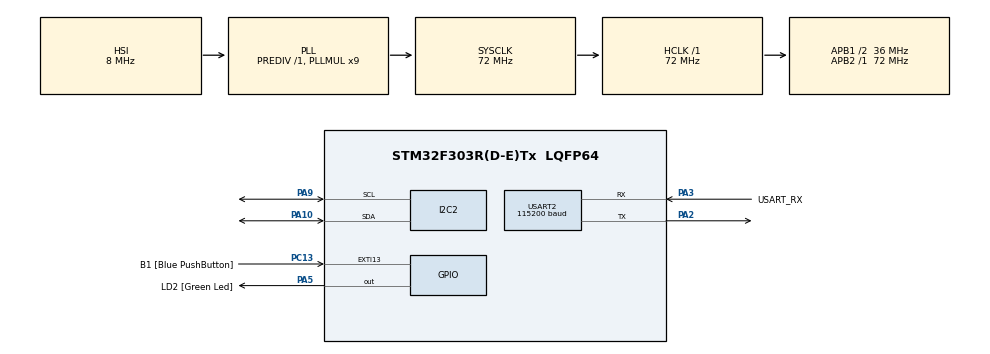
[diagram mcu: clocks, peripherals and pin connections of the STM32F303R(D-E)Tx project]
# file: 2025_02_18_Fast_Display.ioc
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I2C2.Timing=0x00201D2B
Mcu.Family=STM32F3
Mcu.Name=STM32F303R(D-E)Tx
Mcu.Package=LQFP64
NVIC.PriorityGroup=NVIC_PRIORITYGROUP_0
PA10.Mode=I2C
PA10.Signal=I2C2_SDA
PA13.GPIO_Label=TMS
PA13.Mode=Serial_Wire
PA13.Signal=SYS_JTMS-SWDIO
PA14.GPIO_Label=TCK
PA14.Mode=Serial_Wire
PA14.Signal=SYS_JTCK-SWCLK
PA2.Mode=Asynchronous
PA2.Signal=USART2_TX
PA3.GPIO_Label=USART_RX
PA3.GPIO_Mode=GPIO_MODE_AF_PP
PA3.GPIO_PuPd=GPIO_NOPULL
PA3.GPIO_Speed=GPIO_SPEED_FREQ_LOW
PA3.Mode=Asynchronous
PA3.Signal=USART2_RX
PA5.GPIO_Label=LD2 [Green Led]
PA5.GPIO_Mode=GPIO_MODE_OUTPUT_PP
PA5.GPIO_PuPd=GPIO_NOPULL
PA5.GPIO_Speed=GPIO_SPEED_FREQ_LOW
PA5.Signal=GPIO_Output
PA9.Mode=I2C
PA9.Signal=I2C2_SCL
PB3.Signal=SYS_JTDO-TRACESWO
PC13.GPIO_Label=B1 [Blue PushButton]
PC13.GPIO_ModeDefaultEXTI=GPIO_MODE_IT_FALLING
PC13.Signal=GPXTI13
PC14-OSC32_IN.Mode=LSE-External-Clock-Source
PC14-OSC32_IN.Signal=RCC_OSC32_IN
PC15-OSC32_OUT.Signal=RCC_OSC32_OUT
PF0-OSC_IN.Mode=HSE-External-Clock-Source
PF0-OSC_IN.Signal=RCC_OSC_IN
PF1-OSC_OUT.Signal=RCC_OSC_OUT
ProjectManager.HeapSize=0x200
ProjectManager.StackSize=0x400
ProjectManager.TargetToolchain=STM32CubeIDE
RCC.AHBFreq_Value=72000000
RCC.APB1CLKDivider=RCC_HCLK_DIV2
RCC.APB1Freq_Value=36000000
RCC.APB1TimFreq_Value=72000000
RCC.APB2Freq_Value=72000000
RCC.APB2TimFreq_Value=72000000
RCC.CortexFreq_Value=72000000
RCC.HCLKFreq_Value=72000000
RCC.HSE_VALUE=8000000
RCC.HSI_VALUE=8000000
RCC.PLLM=8
RCC.PLLMUL=RCC_PLL_MUL9
RCC.PLLN=336
RCC.PLLP=RCC_PLLP_DIV4
RCC.PLLQ=7
RCC.RCC_PLLsource_Clock_Source_FROM_HSE=RCC_HSE_PREDIV_DIV2
RCC.SYSCLKFreq_VALUE=72000000
RCC.SYSCLKSourceVirtual=RCC_SYSCLKSOURCE_PLLCLK
RCC.USBFreq_Value=72000000
USART2.BaudRate=115200
USART2.VirtualMode-Asynchronous=VM_ASYNC
board=NUCLEO-F303RE

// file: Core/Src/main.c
/* USER CODE BEGIN Header */
/**
  ******************************************************************************
  * @file           : main.c
  * @brief          : Main program body
  ******************************************************************************
  * @attention
  *
  * Copyright (c) 2025 STMicroelectronics.
  * All rights reserved.
  *
  * This software is licensed under terms that can be found in the LICENSE file
  * in the root directory of this software component.
  * If no LICENSE file comes with this software, it is provided AS-IS.
  *
  ******************************************************************************
  */
/* USER CODE END Header */
#include "main.h"

/* USER CODE BEGIN Includes */
#include <string.h>
#include <stdio.h>
/* USER CODE END Includes */

/* USER CODE BEGIN PD */
#define SLAVE_ADDRESS_LCD 0x4E // change this according to your setup 4F

// LCD command definitions:

// commands
#define LCD_CLEARDISPLAY	0x01
#define LCD_RETURNHOME		0x02
#define LCD_ENTRYMODESET	0x04
#define LCD_DISPLAYCONTROL	0x08
#define LCD_CURSORSHIFT		0x10

// flags for display entry mode
#define LCD_ENTRYRIGHT		0x00
#define LCD_ENTRYLEFT		0x02
#define LCD_ENTRYSHIFTINCREMENT 0x01
#define LCD_ENTRYSHIFTDECREMENT 0x00

// flags for display on/off control
#define LCD_DISPLAYON		0x04
#define LCD_DISPLAYOFF		0x00
#define LCD_CURSORON		0x02
#define LCD_CURSOROFF		0x00
#define LCD_BLINKON			0x01
#define LCD_BLINKOFF		0x00

// flags for display/cursor shift
#define LCD_DISPLAYMOVE		0x08
#define LCD_CURSORMOVE		0x00
#define LCD_MOVERIGHT		0x04
#define LCD_MOVELEFT		0x00

// flags for function set
#define LCD_8BITMODE		0x10
#define LCD_4BITMODE		0x00
#define LCD_2LINE			0x08
#define LCD_1LINE			0x00
#define LCD_5x10DOTS		0x04
#define LCD_5x8DOTS			0x00

#define NUMROWS				2
#define NUMCOLS				16
/* USER CODE END PD */

I2C_HandleTypeDef hi2c2;

UART_HandleTypeDef huart2;

void SystemClock_Config(void);
static void MX_GPIO_Init(void);
static void MX_USART2_UART_Init(void);
static void MX_I2C2_Init(void);
/* USER CODE BEGIN PFP */
void lcd_send_cmd (char cmd);
void lcd_send_data (char data);
void lcd_init (void);
void lcd_send_string (char *str);
void lcd_put_cur(int row, int col);
/* USER CODE END PFP */

int main(void)
{

  /* MCU Configuration--------------------------------------------------------*/

  /* Reset of all peripherals, Initializes the Flash interface and the Systick. */
  HAL_Init();

  /* Configure the system clock */
  SystemClock_Config();

  /* Initialize all configured peripherals */
  MX_GPIO_Init();
  MX_USART2_UART_Init();
  MX_I2C2_Init();
  /* USER CODE BEGIN 2 */
  lcd_init ();
  lcd_put_cur(0, 0);
  lcd_send_string ("HELLO WORLD");
  lcd_put_cur(1, 1);
  lcd_send_string("FAST GmbH");
  /* USER CODE END 2 */

  /* Infinite loop */
  while (1)
  {

    /* USER CODE BEGIN 3 */
	  lcd_put_cur(0, 0);
	  lcd_send_string ("HELLO WORLD");
	  HAL_Delay(1000);
	  lcd_send_cmd(LCD_CLEARDISPLAY);
	  lcd_put_cur(1, 1);
	  lcd_send_string("FAST GmbH");
	  HAL_Delay(1000);
	  lcd_send_cmd(LCD_CLEARDISPLAY);

  }
  /* USER CODE END 3 */
}

void SystemClock_Config(void)
{
  RCC_OscInitTypeDef RCC_OscInitStruct = {0};
  RCC_ClkInitTypeDef RCC_ClkInitStruct = {0};
  RCC_PeriphCLKInitTypeDef PeriphClkInit = {0};

  /** Initializes the RCC Oscillators according to the specified parameters
  * in the RCC_OscInitTypeDef structure.
  */
  RCC_OscInitStruct.OscillatorType = RCC_OSCILLATORTYPE_HSI;
  RCC_OscInitStruct.HSIState = RCC_HSI_ON;
  RCC_OscInitStruct.HSICalibrationValue = RCC_HSICALIBRATION_DEFAULT;
  RCC_OscInitStruct.PLL.PLLState = RCC_PLL_ON;
  RCC_OscInitStruct.PLL.PLLSource = RCC_PLLSOURCE_HSI;
  RCC_OscInitStruct.PLL.PLLMUL = RCC_PLL_MUL9;
  RCC_OscInitStruct.PLL.PREDIV = RCC_PREDIV_DIV1;
  if (HAL_RCC_OscConfig(&RCC_OscInitStruct) != HAL_OK)
  {
    Error_Handler();
  }

  /** Initializes the CPU, AHB and APB buses clocks
  */
  RCC_ClkInitStruct.ClockType = RCC_CLOCKTYPE_HCLK|RCC_CLOCKTYPE_SYSCLK
                              |RCC_CLOCKTYPE_PCLK1|RCC_CLOCKTYPE_PCLK2;
  RCC_ClkInitStruct.SYSCLKSource = RCC_SYSCLKSOURCE_PLLCLK;
  RCC_ClkInitStruct.AHBCLKDivider = RCC_SYSCLK_DIV1;
  RCC_ClkInitStruct.APB1CLKDivider = RCC_HCLK_DIV2;
  RCC_ClkInitStruct.APB2CLKDivider = RCC_HCLK_DIV1;

  if (HAL_RCC_ClockConfig(&RCC_ClkInitStruct, FLASH_LATENCY_2) != HAL_OK)
  {
    Error_Handler();
  }
  PeriphClkInit.PeriphClockSelection = RCC_PERIPHCLK_USART2|RCC_PERIPHCLK_I2C2;
  PeriphClkInit.Usart2ClockSelection = RCC_USART2CLKSOURCE_PCLK1;
  PeriphClkInit.I2c2ClockSelection = RCC_I2C2CLKSOURCE_HSI;
  if (HAL_RCCEx_PeriphCLKConfig(&PeriphClkInit) != HAL_OK)
  {
    Error_Handler();
  }
}

static void MX_I2C2_Init(void)
{

  hi2c2.Instance = I2C2;
  hi2c2.Init.Timing = 0x00201D2B;
  hi2c2.Init.OwnAddress1 = 0;
  hi2c2.Init.AddressingMode = I2C_ADDRESSINGMODE_7BIT;
  hi2c2.Init.DualAddressMode = I2C_DUALADDRESS_DISABLE;
  hi2c2.Init.OwnAddress2 = 0;
  hi2c2.Init.OwnAddress2Masks = I2C_OA2_NOMASK;
  hi2c2.Init.GeneralCallMode = I2C_GENERALCALL_DISABLE;
  hi2c2.Init.NoStretchMode = I2C_NOSTRETCH_DISABLE;
  if (HAL_I2C_Init(&hi2c2) != HAL_OK)
  {
    Error_Handler();
  }

  /** Configure Analogue filter
  */
  if (HAL_I2CEx_ConfigAnalogFilter(&hi2c2, I2C_ANALOGFILTER_ENABLE) != HAL_OK)
  {
    Error_Handler();
  }

  /** Configure Digital filter
  */
  if (HAL_I2CEx_ConfigDigitalFilter(&hi2c2, 0) != HAL_OK)
  {
    Error_Handler();
  }

}

static void MX_USART2_UART_Init(void)
{

  huart2.Instance = USART2;
  huart2.Init.BaudRate = 115200;
  huart2.Init.WordLength = UART_WORDLENGTH_8B;
  huart2.Init.StopBits = UART_STOPBITS_1;
  huart2.Init.Parity = UART_PARITY_NONE;
  huart2.Init.Mode = UART_MODE_TX_RX;
  huart2.Init.HwFlowCtl = UART_HWCONTROL_NONE;
  huart2.Init.OverSampling = UART_OVERSAMPLING_16;
  huart2.Init.OneBitSampling = UART_ONE_BIT_SAMPLE_DISABLE;
  huart2.AdvancedInit.AdvFeatureInit = UART_ADVFEATURE_NO_INIT;
  if (HAL_UART_Init(&huart2) != HAL_OK)
  {
    Error_Handler();
  }

}

static void MX_GPIO_Init(void)
{
  GPIO_InitTypeDef GPIO_InitStruct = {0};

  /* GPIO Ports Clock Enable */
  __HAL_RCC_GPIOC_CLK_ENABLE();
  __HAL_RCC_GPIOF_CLK_ENABLE();
  __HAL_RCC_GPIOA_CLK_ENABLE();
  __HAL_RCC_GPIOB_CLK_ENABLE();

  /*Configure GPIO pin Output Level */
  HAL_GPIO_WritePin(LD2_GPIO_Port, LD2_Pin, GPIO_PIN_RESET);

  /*Configure GPIO pin : B1_Pin */
  GPIO_InitStruct.Pin = B1_Pin;
  GPIO_InitStruct.Mode = GPIO_MODE_IT_FALLING;
  GPIO_InitStruct.Pull = GPIO_NOPULL;
  HAL_GPIO_Init(B1_GPIO_Port, &GPIO_InitStruct);

  /*Configure GPIO pin : LD2_Pin */
  GPIO_InitStruct.Pin = LD2_Pin;
  GPIO_InitStruct.Mode = GPIO_MODE_OUTPUT_PP;
  GPIO_InitStruct.Pull = GPIO_NOPULL;
  GPIO_InitStruct.Speed = GPIO_SPEED_FREQ_LOW;
  HAL_GPIO_Init(LD2_GPIO_Port, &GPIO_InitStruct);

}

/* USER CODE BEGIN 4 */
void lcd_send_cmd (char cmd)
{
  char data_u, data_l;
  data_u = (cmd&0xf0);
  data_l = ((cmd<<4)&0xf0);

  uint8_t data_t[4];
  data_t[0] = data_u|0x0C;  //en=1, rs=0 -> bxxxx1100
  data_t[1] = data_u|0x08;  //en=0, rs=0 -> bxxxx1000
  data_t[2] = data_l|0x0C;  //en=1, rs=0 -> bxxxx1100
  data_t[3] = data_l|0x08;  //en=0, rs=0 -> bxxxx1000
//  HAL_I2C_Master_Transmit (&hi2c2, SLAVE_ADDRESS_LCD,(uint8_t *) data_t, 4, 100);
  HAL_I2C_Master_Transmit (&hi2c2, SLAVE_ADDRESS_LCD, &data_t[0], 1, 100);
  HAL_Delay(50);
  HAL_I2C_Master_Transmit (&hi2c2, SLAVE_ADDRESS_LCD, &data_t[0], 1, 100);
  HAL_Delay(50);
  HAL_I2C_Master_Transmit (&hi2c2, SLAVE_ADDRESS_LCD, &data_t[0], 1, 100);
  HAL_Delay(50);
  HAL_I2C_Master_Transmit (&hi2c2, SLAVE_ADDRESS_LCD, &data_t[0], 1, 100);
  HAL_Delay(50);

}

void lcd_send_data (char data)
{
	char data_u, data_l;
	uint8_t data_t[4];
	data_u = (data&0xf0);
	data_l = ((data<<4)&0xf0);
	data_t[0] = data_u|0x0D;  //en=1, rs=1 -> bxxxx1101
	data_t[1] = data_u|0x09;  //en=0, rs=1 -> bxxxx1001
	data_t[2] = data_l|0x0D;  //en=1, rs=1 -> bxxxx1101
	data_t[3] = data_l|0x09;  //en=0, rs=1 -> bxxxx1001
//	HAL_I2C_Master_Transmit (&hi2c2, SLAVE_ADDRESS_LCD,(uint8_t *) data_t, 4, 100);
	HAL_I2C_Master_Transmit (&hi2c2, SLAVE_ADDRESS_LCD, &data_t[0], 1, 100);
	HAL_Delay(50);
	HAL_I2C_Master_Transmit (&hi2c2, SLAVE_ADDRESS_LCD, &data_t[0], 1, 100);
	HAL_Delay(50);
	HAL_I2C_Master_Transmit (&hi2c2, SLAVE_ADDRESS_LCD, &data_t[0], 1, 100);
	HAL_Delay(50);
	HAL_I2C_Master_Transmit (&hi2c2, SLAVE_ADDRESS_LCD, &data_t[0], 1, 100);
	HAL_Delay(50);

}

void lcd_init (void)
{
  // 4 bit initialisation
  HAL_Delay(500);  // wait for >40ms
  lcd_send_cmd (0x30);
  HAL_Delay(50);  // wait for >4.1ms
  lcd_send_cmd (0x30);
  HAL_Delay(50);  // wait for >100us
  lcd_send_cmd (0x30);
  HAL_Delay(50);
  lcd_send_cmd (0x20);
  HAL_Delay(50);

  // display initialisation
  lcd_send_cmd (0x28); // Function set --> DL=0 (4 bit mode), N = 1 (2 line display) F = 0 (5x8 characters)
  HAL_Delay(50);
  lcd_send_cmd (0x08); //Display on/off control --> D=0,C=0, B=0  ---> display off
  HAL_Delay(50);
  lcd_send_cmd (0x01);  // clear display
  HAL_Delay(50);
  lcd_send_cmd (0x06); //Entry mode set --> I/D = 1 (increment cursor) & S = 0 (no shift)
  HAL_Delay(50);
  lcd_send_cmd (0x0C); //Display on/off control --> D = 1, C and B = 0. (Cursor and blink, last two bits)
}

void lcd_send_string (char *str)
{
  while (*str) lcd_send_data (*str++);
}

void lcd_put_cur(int row, int col)
{
    switch (row)
    {
        case 0:
            row |= 0x80;
            break;
        case 1:
            row |= 0xC0;
            break;
    }
    lcd_send_cmd (row);
    lcd_send_cmd (col);
}

/* USER CODE END 4 */

void Error_Handler(void)
{
  __disable_irq();
  while (1)
  {
  }
}
